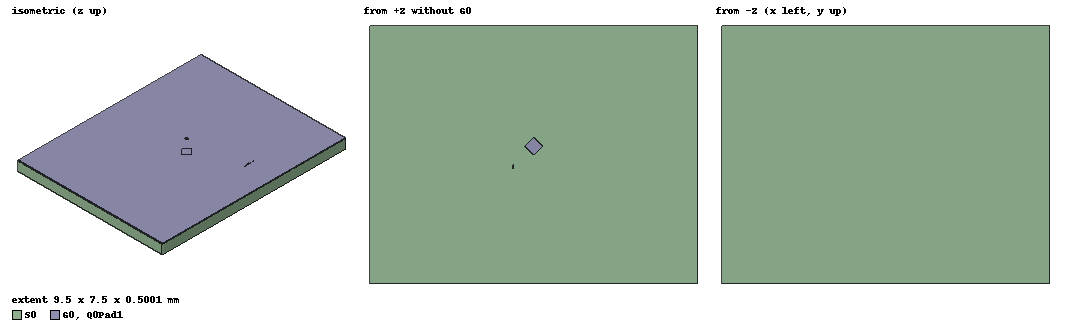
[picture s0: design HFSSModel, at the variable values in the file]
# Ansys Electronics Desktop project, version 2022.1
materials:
  vacuum: permittivity=1
  copper: permeability=0.999991 conductivity=58000000
  silicon: permittivity=11.9
  perfect conductor: conductivity=1e+30

design HFSSModel (HFSS, DrivenModal, model units mm)
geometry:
  S0 [silicon] = polyline(z=0um, xy in um: (-4750, -3750) (-4750, 3750) (4750, 3750) (4750, -3750) (-4750, -3750), closed, covered)
  S0.sweep_along_vector((0mm, 0mm, 500um))
  G0 [perfect conductor] = polyline(z=500um, xy in um: (-4750, -3750) (-4750, 3750) (4750, 3750) (4750, -3750) (-4750, -3750), closed, covered)
  Q0Pad1 [perfect conductor] = polyline(z=500um, xy in um: (-250, 242.5) (-250, 262.5) (-10, 502.5) (10, 502.5) (250, 262.5) (250, 242.5) (10, 2.5) (-10, 2.5) (-250, 242.5), closed, covered)
  Q0Pad1.sweep_along_vector((0mm, 0mm, 0.1um))
  Q0Pad1TrenchComponent = polyline(z=499.9um, xy in um: (-250, 242.5) (-250, 262.5) (-10, 502.5) (10, 502.5) (250, 262.5) (250, 242.5) (10, 2.5) (-10, 2.5) (-250, 242.5), closed, covered)
  Q0Pad1TrenchPeriphery0 = polyline(z=499.9um, xy in um: (-255, 237.5) (-255, 267.5) (255, 267.5) (255, 237.5) (-255, 237.5), closed, covered)
  Q0Pad1TrenchPeriphery1 = polyline(z=499.9um, xy in um: (-15, -2.5) (-15, 507.5) (15, 507.5) (15, -2.5) (-15, -2.5), closed, covered)
  Q0Pad1TrenchPeriphery0.sweep_along_vector((0mm, 0mm, 0.1um))
  S0.subtract(Q0Pad1TrenchPeriphery0)
  Q0Pad1TrenchPeriphery1.sweep_along_vector((0mm, 0mm, 0.1um))
  S0.subtract(Q0Pad1TrenchPeriphery1)
  Q0Pad1periphery0 = polyline(z=500um, xy in um: (-255, 237.5) (-255, 267.5) (255, 267.5) (255, 237.5) (-255, 237.5), closed, covered)
  G0.subtract(Q0Pad1periphery0)
  Q0Pad1periphery1 = polyline(z=500um, xy in um: (-15, -2.5) (-15, 507.5) (15, 507.5) (15, -2.5) (-15, -2.5), closed, covered)
  G0.subtract(Q0Pad1periphery1)
  Q0Pad2 [perfect conductor] = polyline(z=500um, xy in um: (2, -6.75) (2, -5.25) (-2, -5.25) (-2, -6.75) (2, -6.75), closed, covered)
  Q0Pad2.sweep_along_vector((0mm, 0mm, 0.1um))
  Q0Pad2TrenchComponent = polyline(z=499.9um, xy in um: (2, -6.75) (2, -5.25) (-2, -5.25) (-2, -6.75) (2, -6.75), closed, covered)
  Q0Pad2TrenchPeriphery0 = polyline(z=499.9um, xy in um: (7, -6.75) (7, -5.25) (-7, -5.25) (-7, -6.75) (7, -6.75), closed, covered)
  Q0Pad2TrenchPeriphery0.sweep_along_vector((0mm, 0mm, 0.1um))
  S0.subtract(Q0Pad2TrenchPeriphery0)
  Q0Pad2periphery0 = polyline(z=500um, xy in um: (7, -6.75) (7, -5.25) (-7, -5.25) (-7, -6.75) (7, -6.75), closed, covered)
  G0.subtract(Q0Pad2periphery0)
  R0Pad1 [perfect conductor] = polyline(z=500um, xy in um: (-1295.54, 2396) (-1295.54, 2406) (-895.54, 2406) (-895.54, 2396) (-1090.54, 2396) (-1090.54, 2346) (-1100.54, 2346) (-1100.54, 2396) (-1295.54, 2396), closed, covered)
  R0Pad1.sweep_along_vector((0mm, 0mm, 0.1um))
  R0Pad1TrenchComponent = polyline(z=499.9um, xy in um: (-1295.54, 2396) (-1295.54, 2406) (-895.54, 2406) (-895.54, 2396) (-1090.54, 2396) (-1090.54, 2346) (-1100.54, 2346) (-1100.54, 2396) (-1295.54, 2396), closed, covered)
  R0Pad1TrenchPeriphery0 = polyline(z=499.9um, xy in um: (-1319.54, 2390) (-1319.54, 2412) (-871.54, 2412) (-871.54, 2390) (-1319.54, 2390), closed, covered)
  R0Pad1TrenchPeriphery1 = polyline(z=499.9um, xy in um: (-1106.54, 2340) (-1106.54, 2402) (-1084.54, 2402) (-1084.54, 2340) (-1106.54, 2340), closed, covered)
  R0Pad1TrenchPeriphery0.sweep_along_vector((0mm, 0mm, 0.1um))
  S0.subtract(R0Pad1TrenchPeriphery0)
  R0Pad1TrenchPeriphery1.sweep_along_vector((0mm, 0mm, 0.1um))
  S0.subtract(R0Pad1TrenchPeriphery1)
  R0Pad1periphery0 = polyline(z=500um, xy in um: (-1319.54, 2390) (-1319.54, 2412) (-871.54, 2412) (-871.54, 2390) (-1319.54, 2390), closed, covered)
  G0.subtract(R0Pad1periphery0)
  R0Pad1periphery1 = polyline(z=500um, xy in um: (-1106.54, 2340) (-1106.54, 2402) (-1084.54, 2402) (-1084.54, 2340) (-1106.54, 2340), closed, covered)
  G0.subtract(R0Pad1periphery1)
  R0Pad2 [perfect conductor] = polyline(z=500um, xy in um: (-619.01487, -300.56622) (-589.01487, -300.56911) (-589.0245, -400.56911) (-619.0245, -400.56622) (-619.02017, -355.56622) (-669.02017, -355.5614) (-669.0192, -345.5614) (-619.0192, -345.56622) (-619.01487, -300.56622), closed, covered)
  R0Pad2.sweep_along_vector((0mm, 0mm, 0.1um))
  R0Pad2TrenchComponent = polyline(z=499.9um, xy in um: (-619.01487, -300.56622) (-589.01487, -300.56911) (-589.0245, -400.56911) (-619.0245, -400.56622) (-619.02017, -355.56622) (-669.02017, -355.5614) (-669.0192, -345.5614) (-619.0192, -345.56622) (-619.01487, -300.56622), closed, covered)
  R0Pad2TrenchPeriphery0 = polyline(z=499.9um, xy in um: (-649.01198, -270.56333) (-559.01198, -270.572) (-559.02739, -430.572) (-649.02739, -430.56333) (-649.01198, -270.56333), closed, covered)
  R0Pad2TrenchPeriphery1 = polyline(z=499.9um, xy in um: (-675.01862, -339.56083) (-613.01862, -339.5668) (-613.02074, -361.5668) (-675.02074, -361.56083) (-675.01862, -339.56083), closed, covered)
  R0Pad2TrenchPeriphery0.sweep_along_vector((0mm, 0mm, 0.1um))
  S0.subtract(R0Pad2TrenchPeriphery0)
  R0Pad2TrenchPeriphery1.sweep_along_vector((0mm, 0mm, 0.1um))
  S0.subtract(R0Pad2TrenchPeriphery1)
  R0Pad2periphery0 = polyline(z=500um, xy in um: (-649.01198, -270.56333) (-559.01198, -270.572) (-559.02739, -430.572) (-649.02739, -430.56333) (-649.01198, -270.56333), closed, covered)
  G0.subtract(R0Pad2periphery0)
  R0Pad2periphery1 = polyline(z=500um, xy in um: (-675.01862, -339.56083) (-613.01862, -339.5668) (-613.02074, -361.5668) (-675.02074, -361.56083) (-675.01862, -339.56083), closed, covered)
  G0.subtract(R0Pad2periphery1)
  Q0Pad1TrenchComponent.sweep_along_vector((0mm, 0mm, 0.1um))
  S0.unite(Q0Pad1TrenchComponent)
  Q0Pad2TrenchComponent.sweep_along_vector((0mm, 0mm, 0.1um))
  S0.unite(Q0Pad2TrenchComponent)
  R0Pad1TrenchComponent.sweep_along_vector((0mm, 0mm, 0.1um))
  S0.unite(R0Pad1TrenchComponent)
  R0Pad2TrenchComponent.sweep_along_vector((0mm, 0mm, 0.1um))
  S0.unite(R0Pad2TrenchComponent)
  G0.sweep_along_vector((0mm, 0mm, 0.1um))
